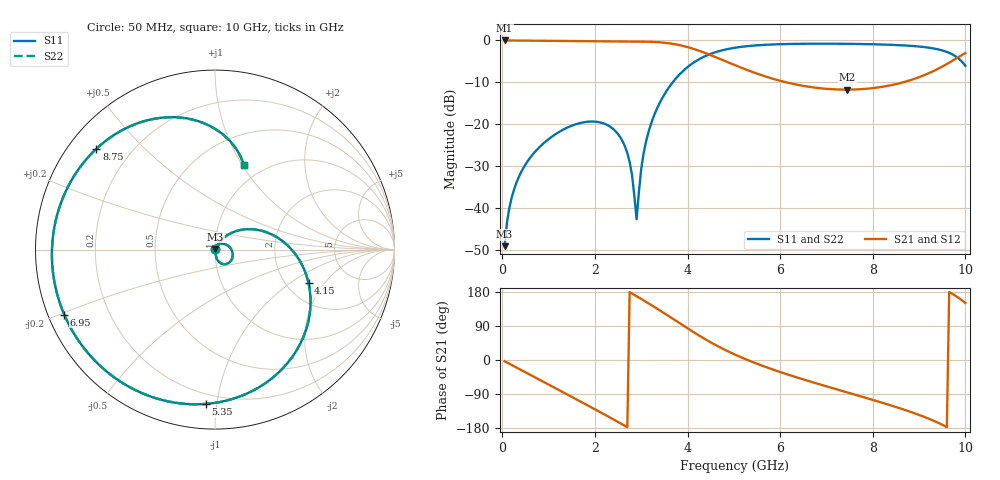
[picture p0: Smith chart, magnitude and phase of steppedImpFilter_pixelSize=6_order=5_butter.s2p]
! freq	dB(S11)	phase(S11)	dB(S12)	phase(S12)
!  dB(S21)	phase(S21)	dB(S22)	phase(S22)
!S-par simulation data
#  GHz  S  DB  R 50
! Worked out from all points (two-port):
!   200 points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, 50 MHz to 10 GHz, reference 50 ohm
!   highest |S21| = -0.01 dB at 50 MHz (marker M1); lowest = -11.7 dB at 7.45 GHz (marker M2)
!   |S21| within 3 dB of the highest: start of sweep to 4.387 GHz; 9.997695 GHz to end of sweep
!   lowest |S11| = -49.0 dB at 50 MHz (marker M3), VSWR 1.01, Z = 50.1 + j0.344 ohm
!   |S11| at or under -10 dB: start of sweep to 3.679 GHz
!   |S22| runs from -49.0 to -0.8 dB; largest |S21 - S12| = 0
!   S11 on the Smith chart (normalised r, x): 50 MHz: 1.00, +0.01; 4.15 GHz: 2.63, -1.41; 5.35 GHz: 0.14, -0.93; 6.95 GHz: 0.05, -0.21; 8.75 GHz: 0.08, +0.37; 10 GHz: 0.82, +1.02
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0.05  -49.03 76.4  -0.01 -3.3  -0.01 -3.3  -49.03 76.4
0.2  -37.57 74.1  -0.02 -13.0  -0.02 -13.0  -37.57 74.1
0.5  -29.57 57.0  -0.05 -32.4  -0.05 -32.4  -29.57 57.0
1.15  -22.33 16.1  -0.11 -74.5  -0.11 -74.5  -22.33 16.0
1.75  -19.52 -22.5  -0.18 -113.6  -0.18 -113.6  -19.52 -22.6
2.6  -24.08 -75.6  -0.22 -170.4  -0.22 -170.4  -24.09 -76.0
2.8  -31.99 -79.4  -0.23 175.6  -0.23 175.6  -32.03 -80.4
2.9  -42.62 -10.8  -0.24 168.5  -0.24 168.5  -43.16 -10.6
3.05  -27.00 56.7  -0.26 157.5  -0.26 157.5  -27.01 57.3
3.4  -14.88 37.4  -0.45 131.0  -0.45 131.0  -14.88 37.6
3.75  -9.04 11.1  -0.95 103.3  -0.95 103.3  -9.04 11.1
4.15  -5.14 -19.6  -2.08 72.0  -2.08 72.0  -5.14 -19.6
4.55  -3.00 -47.9  -3.72 43.3  -3.72 43.3  -3.00 -47.9
5.05  -1.69 -77.9  -6.01 12.9  -6.01 12.9  -1.69 -77.9
5.35  -1.30 -93.3  -7.31 -2.7  -7.31 -2.7  -1.30 -93.3
6.7  -0.78 -147.9  -11.17 -58.6  -11.17 -58.6  -0.78 -147.9
6.95  -0.78 -156.6  -11.48 -67.7  -11.48 -67.7  -0.77 -156.6
7.45  -0.81 -173.7  -11.72 -85.5  -11.72 -85.5  -0.81 -173.7
8.35  -1.02 154.9  -10.77 -118.2  -10.77 -118.2  -1.02 155.0
8.75  -1.24 139.6  -9.68 -134.1  -9.68 -134.1  -1.24 139.7
9.5  -2.38 104.5  -6.23 -170.9  -6.23 -170.9  -2.38 104.7
10  -6.06 70.9  -2.99 150.5  -2.99 150.5  -6.06 71.2
